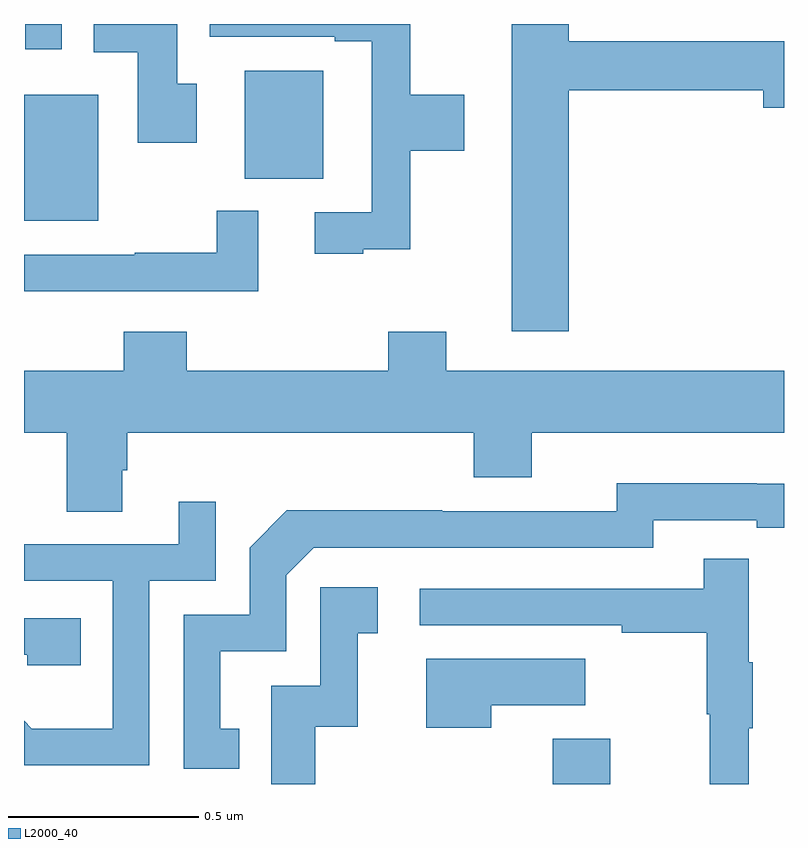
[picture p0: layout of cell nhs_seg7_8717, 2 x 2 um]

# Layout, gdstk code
import gdstk
lib = gdstk.Library(unit=1e-6, precision=1e-09)
def R(c, l, rs):  # rectangles x0, y0, x1, y1
    for r in rs: c.add(gdstk.rectangle(r[:2], r[2:], *l))
def P(c, l, *ps):  # polygons
    for p in ps: c.add(gdstk.Polygon(p, *l))
L2000_40 = (2000, 40)

nhs_seg7_8717 = lib.new_cell('nhs_seg7_8717')
R(nhs_seg7_8717, L2000_40, [(229.391,1025,229.543,1025.119), (228,1026.482,228.196,1026.814), (228.581,1026.593,228.787,1026.877), (228.003,1026.933,228.099,1027)])
P(nhs_seg7_8717, L2000_40, [(228.893,1026.407),(229.016,1026.407),(229.016,1026.667),(229.159,1026.667),(229.159,1026.814),(229.016,1026.814),(229.016,1027),(228.489,1027),(228.489,1026.966),(228.818,1026.966),(228.818,1026.954),(228.915,1026.954),(228.915,1026.504),(228.765,1026.504),(228.765,1026.396),(228.893,1026.396)],
  [(229.433,1026.826),(229.946,1026.826),(229.946,1026.779),(230,1026.779),(230,1026.955),(229.433,1026.955),(229.433,1027),(229.283,1027),(229.283,1026.192),(229.433,1026.192)],
  [(228.454,1026.843),(228.403,1026.843),(228.403,1027),(228.184,1027),(228.184,1026.926),(228.299,1026.926),(228.299,1026.687),(228.454,1026.687)],
  [(228.616,1026.508),(228.507,1026.508),(228.507,1026.398),(228.292,1026.398),(228.292,1026.393),(228,1026.393),(228,1026.297),(228.616,1026.297)],
  [(228.259,1025.826),(228.272,1025.826),(228.272,1025.924),(229.184,1025.924),(229.184,1025.807),(229.336,1025.807),(229.336,1025.924),(230,1025.924),(230,1026.088),(229.111,1026.088),(229.111,1026.19),(228.959,1026.19),(228.959,1026.088),(228.428,1026.088),(228.428,1026.19),(228.263,1026.19),(228.263,1026.088),(228,1026.088),(228,1025.924),(228.112,1025.924),(228.112,1025.716),(228.259,1025.716)],
  [(228.566,1025.145),(228.517,1025.145),(228.517,1025.349),(228.69,1025.349),(228.69,1025.55),(228.762,1025.622),(229.656,1025.622),(229.656,1025.694),(229.928,1025.694),(229.928,1025.674),(230,1025.674),(230,1025.79),(229.928,1025.79),(229.928,1025.791),(229.56,1025.791),(229.56,1025.718),(229.1,1025.718),(229.1,1025.72),(228.692,1025.72),(228.594,1025.622),(228.594,1025.445),(228.42,1025.445),(228.42,1025.04),(228.566,1025.04)],
  [(228.33,1025.535),(228.504,1025.535),(228.504,1025.743),(228.407,1025.743),(228.407,1025.631),(228,1025.631),(228,1025.535),(228.234,1025.535),(228.234,1025.146),(228.02,1025.146),(228,1025.166),(228,1025.049),(228.33,1025.049)],
  [(229.907,1025.147),(229.918,1025.147),(229.918,1025.321),(229.907,1025.321),(229.907,1025.593),(229.789,1025.593),(229.789,1025.514),(229.041,1025.514),(229.041,1025.418),(229.573,1025.418),(229.573,1025.398),(229.797,1025.398),(229.797,1025.184),(229.804,1025.184),(229.804,1025),(229.907,1025)],
  [(228.767,1025.151),(228.878,1025.151),(228.878,1025.397),(228.931,1025.397),(228.931,1025.518),(228.78,1025.518),(228.78,1025.259),(228.651,1025.259),(228.651,1025),(228.767,1025)],
  [(228.149,1025.436),(228,1025.436),(228,1025.34),(228.009,1025.34),(228.009,1025.313),(228.149,1025.313)],
  [(229.229,1025.207),(229.477,1025.207),(229.477,1025.329),(229.058,1025.329),(229.058,1025.148),(229.229,1025.148)])

lib.write_gds('nhs_seg7_8717.gds')
